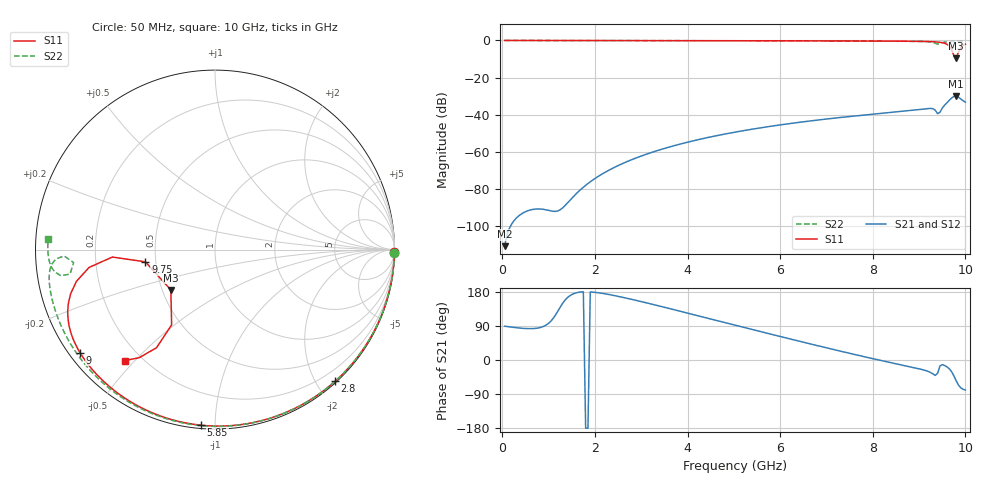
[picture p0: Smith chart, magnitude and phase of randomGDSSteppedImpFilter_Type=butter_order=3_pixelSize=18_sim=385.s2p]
! freq	dB(S11)	phase(S11)	dB(S12)	phase(S12)
!  dB(S21)	phase(S21)	dB(S22)	phase(S22)
!S-par simulation data
#  GHz  S  DB  R 50
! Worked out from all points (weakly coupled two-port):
!   200 points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, 50 MHz to 10 GHz, reference 50 ohm
!   highest |S21| = -30.04 dB at 9.8 GHz (marker M1); lowest = -111.0 dB at 50 MHz (marker M2)
!   lowest |S11| = -9.5 dB at 9.8 GHz (marker M3), VSWR 2.00, Z = 27.7 - j14 ohm
!   |S11| at or under -10 dB: nowhere
!   |S22| runs from -2.0 to 0.0 dB; largest |S21 - S12| = 0
!   S11 on the Smith chart (normalised r, x): 50 MHz: open; 2.8 GHz: 0.02, -2.27; 5.85 GHz: 0.02, -0.92; 9 GHz: 0.03, -0.34; 9.75 GHz: 0.44, -0.07; 10 GHz: 0.14, -0.47
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0.05  -0.00 -0.9  -111.04 89.2  -111.04 89.2  -0.00 -1.1
0.85  -0.02 -14.8  -91.04 86.8  -91.04 86.8  -0.02 -17.9
1.75  -0.04 -30.2  -79.21 180.0  -79.21 180.0  -0.05 -36.4
2.2  -0.05 -37.7  -71.44 175.1  -71.44 175.1  -0.06 -45.4
2.8  -0.06 -47.6  -64.30 159.9  -64.30 159.9  -0.07 -57.2
3.4  -0.08 -57.3  -59.04 142.2  -59.04 142.2  -0.09 -68.8
5.05  -0.13 -82.8  -49.38 91.2  -49.38 91.2  -0.15 -98.9
5.85  -0.16 -94.6  -46.12 66.6  -46.12 66.6  -0.19 -112.8
6.7  -0.21 -106.8  -43.29 41.0  -43.29 41.0  -0.25 -127.3
8.35  -0.35 -131.1  -38.97 -6.0  -38.97 -6.0  -0.40 -155.8
9  -0.48 -142.7  -37.32 -23.2  -37.32 -23.2  -0.52 -168.3
9.3  -0.68 -150.6  -36.86 -36.8  -36.86 -36.8  -1.03 -176.6
9.4  -0.84 -154.4  -39.51 -35.0  -39.51 -35.0  -2.04 -174.8
9.45  -0.98 -156.7  -38.80 -15.9  -38.80 -15.9  -1.73 -170.4
9.55  -1.49 -162.9  -34.96 -14.4  -34.96 -14.4  -0.90 -172.0
9.65  -2.99 -171.9  -32.38 -22.8  -32.38 -22.8  -0.70 -175.2
9.7  -4.83 -175.8  -31.14 -30.4  -31.14 -30.4  -0.66 -176.6
9.75  -8.09 -170.1  -30.22 -41.5  -30.22 -41.5  -0.64 -177.8
9.8  -9.55 -137.6  -30.04 -54.6  -30.04 -54.6  -0.62 -179.0
9.85  -6.30 -119.9  -30.64 -65.9  -30.64 -65.9  -0.62 179.8
9.9  -3.93 -120.8  -31.59 -73.3  -31.59 -73.3  -0.61 178.7
10  -1.97 -129.1  -33.29 -79.3  -33.29 -79.3  -0.62 176.5
